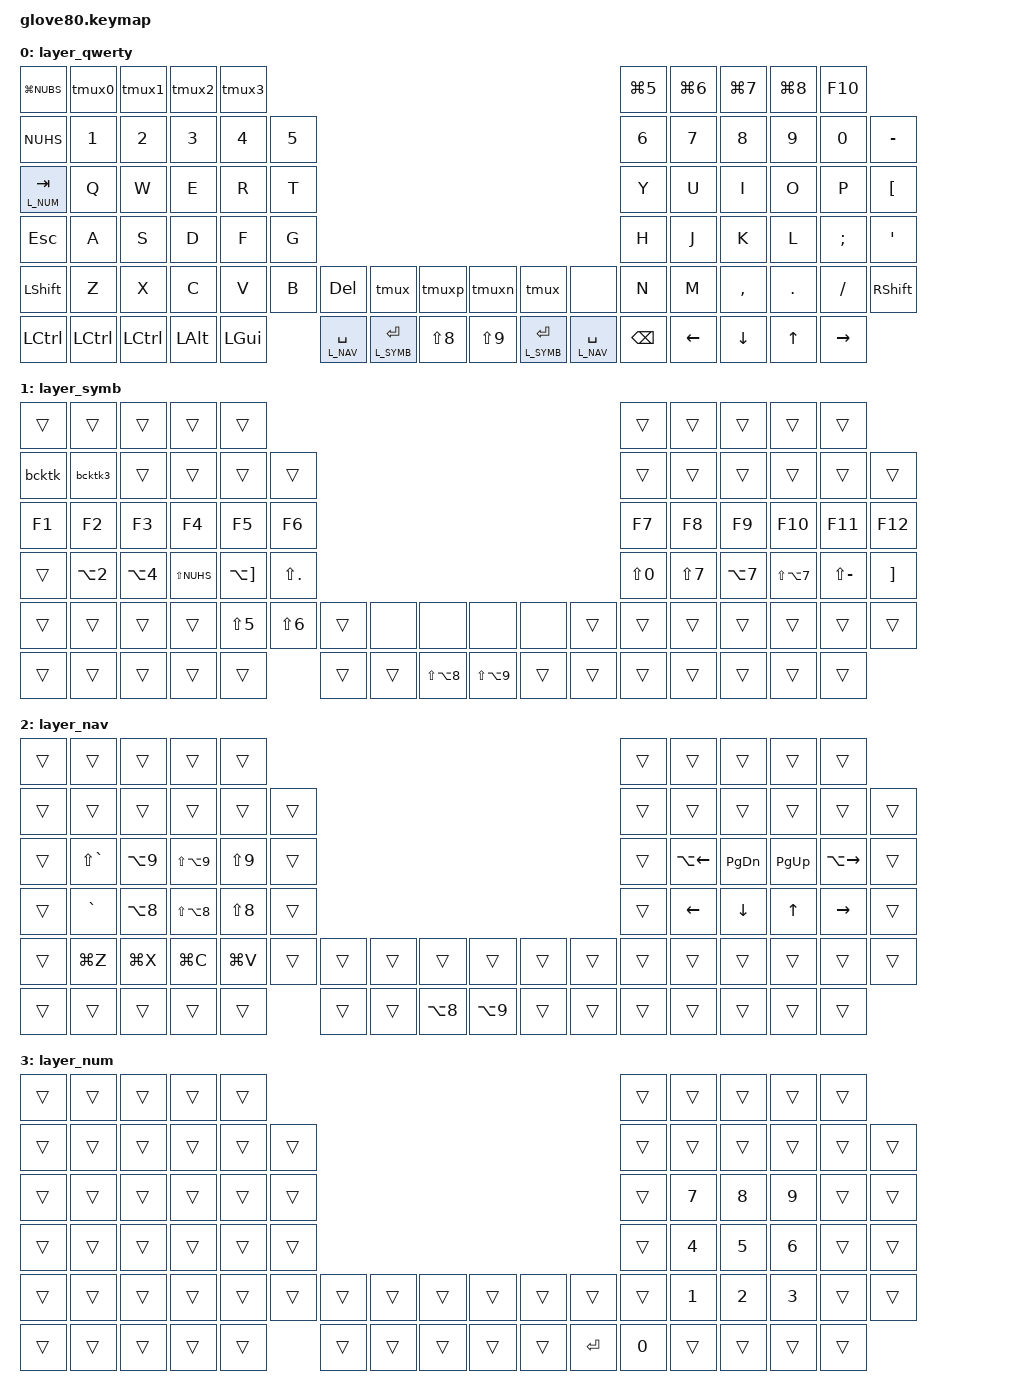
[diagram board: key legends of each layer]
/*
 * Copyright (c) 2020 The ZMK Contributors
 *
 * SPDX-License-Identifier: MIT
 */

#include <behaviors.dtsi>
#include <dt-bindings/zmk/keys.h>
#include <dt-bindings/zmk/bt.h>
#include <dt-bindings/zmk/ext_power.h>
#include <dt-bindings/zmk/outputs.h>
#include <dt-bindings/zmk/rgb.h>

#define HYPER LC(LS(LG(LALT)))

// layers
#define DEFAULT 0
#define LOWER 1
#define MAGIC 2
#define FACTORY_TEST 3

// TODO: No spacies
#define _SNGQU NUHS // '
// #define _DBLQU &mt LS(N2) // "
#define _APOST EQUAL // ´
#define _MULTI LS(NUHS) // *
#define _2DOTS RBKT // ¨
#define _SV_AU LBKT // Å
#define _SV_AE SQT // Ä
#define _SV_OE SEMI // Ö
#define _ANG_L GRAVE // <
#define _ANG_R LS(GRAVE) // >
#define _SQR_L LA(N8) // [
#define _SQR_R LA(N9) // ]
#define _PAR_L LS(N8) // (
#define _PAR_R LS(N9) // )
#define _CRL_L LS(LA(N8)) // {
#define _CRL_R LS(LA(N9)) // }
#define _PLUS  MINUS // +
#define _DASH  SLASH // -
#define _AT    LA(N2) // @
#define _DOLLR LA(N4) // $
#define _FSLSH LS(N7) // /
#define _PIPE  LA(N7) // /
#define _BSLSH LS(LA(N7)) // \
#define _WRD_L LA(LEFT) // <<
#define _WRD_R LA(RIGHT) // >>
#define _TILDE LA(RBKT) // ~
#define _EQUAL LS(N0) // =
#define _QUEST LS(MINUS) // ?
#define _COLON LS(DOT) // :
#define _PARAG NUBS // §
#define _PERCN LS(N5) // %
#define _AMPER LS(N6) // &

#define _QUAKE LG(NUBS)

#define L_QWERTY 0
#define L_SYMB   1
#define L_NAV    2
#define L_NUM    3

/ {
    macros {
        bcktk: backtick {
            label = "BACKTICK";
            compatible = "zmk,behavior-macro";
            #binding-cells = <0>;
            wait-ms = <10>;
            bindings =
                <&macro_press &kp LSHFT>,
                <&macro_tap &kp EQUAL>,
                <&macro_release &kp LSHFT>,
                <&macro_tap &kp SPACE>;
        };

        bcktk3: triple_backtick {
            label = "TRIPLE_BACKTICK";
            compatible = "zmk,behavior-macro";
            #binding-cells = <0>;
            wait-ms = <10>;
            bindings =
                <&macro_press &kp LSHFT>,
                <&macro_tap &kp EQUAL>,
                <&macro_tap &kp EQUAL>,
                <&macro_tap &kp EQUAL>,
                <&macro_release &kp LSHFT>,
                <&macro_tap &kp SPACE>;
        };

        tmux: tumux_command {
            label = "TMUX_COMMAND";
            compatible = "zmk,behavior-macro";
            #binding-cells = <0>;
            wait-ms = <10>;
            bindings =
                <&macro_press &kp LCTRL>,
                <&macro_tap &kp B>,
                <&macro_release &kp LCTRL>;
        };

        tmuxp: tumux_window_prev {
            label = "TMUX_WINDOW_PREV";
            compatible = "zmk,behavior-macro";
            #binding-cells = <0>;
            wait-ms = <10>;
            bindings =
                <&macro_press &kp LCTRL>,
                <&macro_tap &kp B>,
                <&macro_release &kp LCTRL>,
                <&macro_tap &kp P>;
        };

        tmuxn: tumux_window_next {
            label = "TMUX_WINDOW_NEXT";
            compatible = "zmk,behavior-macro";
            #binding-cells = <0>;
            wait-ms = <10>;
            bindings =
                <&macro_press &kp LCTRL>,
                <&macro_tap &kp B>,
                <&macro_release &kp LCTRL>,
                <&macro_tap &kp N>;
        };

        tmux0: tumux_window_0 {
            label = "TMUX_WINDOW_0";
            compatible = "zmk,behavior-macro";
            #binding-cells = <0>;
            wait-ms = <10>;
            bindings =
                <&macro_press &kp LCTRL>,
                <&macro_tap &kp B>,
                <&macro_release &kp LCTRL>,
                <&macro_tap &kp N0>;
        };

        tmux1: tumux_window_1 {
            label = "TMUX_WINDOW_1";
            compatible = "zmk,behavior-macro";
            #binding-cells = <0>;
            wait-ms = <10>;
            bindings =
                <&macro_press &kp LCTRL>,
                <&macro_tap &kp B>,
                <&macro_release &kp LCTRL>,
                <&macro_tap &kp N1>;
        };

        tmux2: tumux_window_2 {
            label = "TMUX_WINDOW_2";
            compatible = "zmk,behavior-macro";
            #binding-cells = <0>;
            wait-ms = <10>;
            bindings =
                <&macro_press &kp LCTRL>,
                <&macro_tap &kp B>,
                <&macro_release &kp LCTRL>,
                <&macro_tap &kp N2>;
        };

        tmux3: tumux_window_3 {
            label = "TMUX_WINDOW_3";
            compatible = "zmk,behavior-macro";
            #binding-cells = <0>;
            wait-ms = <10>;
            bindings =
                <&macro_press &kp LCTRL>,
                <&macro_tap &kp B>,
                <&macro_release &kp LCTRL>,
                <&macro_tap &kp N3>;
        };

        tmux4: tumux_window_4 {
            label = "TMUX_WINDOW_4";
            compatible = "zmk,behavior-macro";
            #binding-cells = <0>;
            wait-ms = <10>;
            bindings =
                <&macro_press &kp LCTRL>,
                <&macro_tap &kp B>,
                <&macro_release &kp LCTRL>,
                <&macro_tap &kp N4>;
        };

        tmux5: tumux_window_5 {
            label = "TMUX_WINDOW_5";
            compatible = "zmk,behavior-macro";
            #binding-cells = <0>;
            wait-ms = <10>;
            bindings =
                <&macro_press &kp LCTRL>,
                <&macro_tap &kp B>,
                <&macro_release &kp LCTRL>,
                <&macro_tap &kp N5>;
        };
    };

    keymap {
        compatible = "zmk,keymap";

    /*
                                                              _QWERTY
                ┌─────┬─────┬─────┐                                                                                                               ┌─────┬─────┬─────┐
    ┌─────┬─────┤Cmd+2│Cmd+3│Cmd+4│                                                                                                               │Cmd+5│Cmd+6│Cmd+7├─────┬─────┐
    │QUAKE│Cmd+1│     │     │     │                                                                                                               │     │     │     │Cmd+8│Cmd+9│
    │     │     ├─────┼─────┼─────┼─────┐                                                                                                   ┌─────┼─────┼─────┼─────┤     │     │
    ├─────┼─────┤  2  │  3  │  4  │  5  │                                                                                                   │  6  │  7  │  8  │  9  ├─────┼─────┤
    │  `  │  1  │     │     │     │     │                                                                                                   │     │     │     │     │  0  │  +  │
    │     │     ├─────┼─────┼─────┼─────┤                                                                                                   ├─────┼─────┼─────┼─────┤     │     │
    ├─────┼─────┤  W  │  E  │  R  │  T  │                                                                                                   │  Y  │  U  │  I  │  O  ├─────┼─────┤
    │ Tab │  Q  │     │     │     │     │                                                                                                   │     │     │     │     │  P  │  Å  │
    │     │     ├─────┼─────┼─────┼─────┤                                                                                                   ├─────┼─────┼─────┼─────┤     │     │
    ├─────┼─────┤  S  │  D  │  F  │  G  │                                                                                                   │  H  │  J  │  K  │  L  ├─────┼─────┤
    │ ESC │  A  │     │     │     │     │                                                                                                   │     │     │     │     │  Ö  │  Ä  │
    │     │     ├─────┼─────┼─────┼─────┤                                                                                                   ├─────┼─────┼─────┼─────┤     │     │
    ├─────┼─────┤  X  │  C  │  V  │  B  │             ┌─────┐                                                           ┌─────┐             │  N  │  M  │  ,  │  .  ├─────┼─────┤
    │LShft│  Z  │     │     │     │     │             │ Del │┌─────┐                                             ┌─────┐│     │             │     │     │     │     │  -  │RShft│
    │     │     ├─────┼─────┼─────┼─────┘             │     ││     │┌─────┐                               ┌─────┐│     ││     │             └─────┼─────┼─────┼─────┤     │     │
    ├─────┼─────┤LCtrl│LOptn│LCmnd│                   └─────┘│     ││     │                               │     ││     │└─────┘                   │Bkspc│Left │Down ├─────┼─────┤
    │LCtrl│LCtrl│     │     │     │                ┌─────┐   └─────┘│     │                               │     │└─────┘   ┌─────┐                │     │     │     │Up   │Right│
    │     │     ├─────┴─────┴─────┘                │Space│┌─────┐   └─────┘                               └─────┘   ┌─────┐│Space│                └─────┴─────┴─────┤     │     │
    └─────┴─────┘                                  │_NAV ││Enter│┌─────┐                                     ┌─────┐│Enter││_NAV │                                  └─────┴─────┘
                                                   └─────┘│_SYMB││  (  │                                     │  )  ││_SYMB│└─────┘
                                                          └─────┘│     │                                     │     │└─────┘
                                                                 └─────┘                                     └─────┘
    */


        layer_qwerty {
            bindings = <
 &kp _QUAKE       &tmux0     &tmux1     &tmux2     &tmux3                                                                                                          &kp LG(N5) &kp LG(N6) &kp LG(N7) &kp LG(N8) &kp F10
 &kp _SNGQU       &kp N1     &kp N2     &kp N3     &kp N4     &kp N5                                                                                               &kp N6     &kp N7     &kp N8     &kp N9     &kp N0     &kp _PLUS
 &lt L_NUM TAB    &kp Q      &kp W      &kp E      &kp R      &kp T                                                                                                &kp Y      &kp U      &kp I      &kp O      &kp P      &kp _SV_AU
 &kp ESC          &kp A      &kp S      &kp D      &kp F      &kp G                                                                                                &kp H      &kp J      &kp K      &kp L      &kp _SV_OE &kp _SV_AE
 &kp LSHIFT       &kp Z      &kp X      &kp C      &kp V      &kp B  &kp DEL         &tmux            &tmuxp           &tmuxn     &tmux            &none           &kp N      &kp M      &kp COMMA  &kp DOT    &kp _DASH  &kp RSHIFT
 &kp LCTRL        &kp LCTRL  &kp LCTRL  &kp LALT   &kp LGUI          &lt L_NAV SPACE &lt L_SYMB ENTER &kp _PAR_L       &kp _PAR_R &lt L_SYMB ENTER &lt L_NAV SPACE &kp BSPC   &kp LEFT   &kp DOWN   &kp UP     &kp RIGHT
            >;
        };

    /*
                                                              _SYMB
                ┌─────┬─────┬─────┐                                                                                                               ┌─────┬─────┬─────┐
    ┌─────┬─────┤     │     │     │                                                                                                               │     │     │     ├─────┬─────┐
    │     │     │     │     │     │                                                                                                               │     │     │     │     │     │
    │     │     ├─────┼─────┼─────┼─────┐                                                                                                   ┌─────┼─────┼─────┼─────┤     │     │
    ├─────┼─────┤     │     │     │     │                                                                                                   │     │     │     │     ├─────┼─────┤
    │ `   │ ``` │     │     │     │     │                                                                                                   │     │     │     │     │     │   ´ │
    │     │     ├─────┼─────┼─────┼─────┤                                                                                                   ├─────┼─────┼─────┼─────┤     │     │
    ├─────┼─────┤ F3  │ F4  │ F5  │ F6  │                                                                                                   │ F7  │ F8  │ F9  │ F10 ├─────┼─────┤
    │ F1  │ F2  │     │     │     │     │                                                                                                   │     │     │     │     │ F11 │ F12 │
    │     │     ├─────┼─────┼─────┼─────┤                                                                                                   ├─────┼─────┼─────┼─────┤     │     │
    ├─────┼─────┤  $  │  *  │  ~  │  :  │                                                                                                   │  =  │  /  │  |  │  \  ├─────┼─────┤
    │     │  @  │     │     │     │     │                                                                                                   │     │     │     │     │  ?  │  ¨  │
    │     │     ├─────┼─────┼─────┼─────┤                                                                                                   ├─────┼─────┼─────┼─────┤     │     │
    ├─────┼─────┤     │     │  %  │  &  │             ┌─────┐                                                           ┌─────┐             │     │     │     │     ├─────┼─────┤
    │     │     │     │     │     │     │             │     │┌─────┐                                             ┌─────┐│     │             │     │     │     │     │     │     │
    │     │     ├─────┼─────┼─────┼─────┘             │     ││     │┌─────┐                               ┌─────┐│     ││     │             └─────┼─────┼─────┼─────┤     │     │
    ├─────┼─────┤     │     │     │                   └─────┘│     ││     │                               │     ││     │└─────┘                   │     │     │     ├─────┼─────┤
    │     │     │     │     │     │                ┌─────┐   └─────┘│     │                               │     │└─────┘   ┌─────┐                │     │     │     │     │     │
    │     │     ├─────┴─────┴─────┘                │     │┌─────┐   └─────┘                               └─────┘   ┌─────┐│     │                └─────┴─────┴─────┤     │     │
    └─────┴─────┘                                  │     ││     │┌─────┐                                     ┌─────┐│     ││     │                                  └─────┴─────┘
                                                   └─────┘│     ││  {  │                                     │  }  ││     │└─────┘
                                                          └─────┘│     │                                     │     │└─────┘
                                                                 └─────┘                                     └─────┘
    */


        layer_symb {
            bindings = <
 &trans  &trans  &trans     &trans     &trans                                                                               &trans     &trans     &trans    &trans     &trans
 &bcktk  &bcktk3 &trans     &trans     &trans     &trans                                                                    &trans     &trans     &trans    &trans     &trans     &trans
 &kp F1  &kp F2  &kp F3     &kp F4     &kp F5     &kp F6                                                                    &kp F7     &kp F8     &kp F9    &kp F10    &kp F11    &kp F12
 &trans  &kp _AT &kp _DOLLR &kp _MULTI &kp _TILDE &kp _COLON                                                                &kp _EQUAL &kp _FSLSH &kp _PIPE &kp _BSLSH &kp _QUEST &kp _2DOTS
 &trans  &trans  &trans     &trans     &kp _PERCN &kp _AMPER &trans  &none      &none       &none       &none       &trans  &trans     &trans     &trans    &trans     &trans     &trans
 &trans  &trans  &trans     &trans     &trans                &trans  &trans     &kp _CRL_L  &kp _CRL_R  &trans      &trans             &trans     &trans    &trans     &trans     &trans
            >;
        };

    /*
                                                              _NAV
                ┌─────┬─────┬─────┐                                                                                                               ┌─────┬─────┬─────┐
    ┌─────┬─────┤     │     │     │                                                                                                               │     │     │     ├─────┬─────┐
    │     │     │     │     │     │                                                                                                               │     │     │     │     │     │
    │     │     ├─────┼─────┼─────┼─────┐                                                                                                   ┌─────┼─────┼─────┼─────┤     │     │
    ├─────┼─────┤     │     │     │     │                                                                                                   │     │     │     │     ├─────┼─────┤
    │     │     │     │     │     │     │                                                                                                   │     │     │     │     │     │     │
    │     │     ├─────┼─────┼─────┼─────┤                                                                                                   ├─────┼─────┼─────┼─────┤     │     │
    ├─────┼─────┤  ]  │  }  │  )  │     │                                                                                                   │     │ <<  │PgDwn│PgUp ├─────┼─────┤
    │     │  >  │     │     │     │     │                                                                                                   │     │     │     │     │ >>  │     │
    │     │     ├─────┼─────┼─────┼─────┤                                                                                                   ├─────┼─────┼─────┼─────┤     │     │
    ├─────┼─────┤  [  │  {  │  (  │     │                                                                                                   │     │Left │Down │ Up  ├─────┼─────┤
    │     │  <  │     │     │     │     │                                                                                                   │     │     │     │     │Right│     │
    │     │     ├─────┼─────┼─────┼─────┤                                                                                                   ├─────┼─────┼─────┼─────┤     │     │
    ├─────┼─────┤Cmd+X│Cmd+C│Cmd+V│     │             ┌─────┐                                                           ┌─────┐             │     │     │     │     ├─────┼─────┤
    │     │Cmd+Z│     │     │     │     │             │     │┌─────┐                                             ┌─────┐│     │             │     │     │     │     │     │     │
    │     │     ├─────┼─────┼─────┼─────┘             │     ││     │┌─────┐                               ┌─────┐│     ││     │             └─────┼─────┼─────┼─────┤     │     │
    ├─────┼─────┤     │     │     │                   └─────┘│     ││     │                               │     ││     │└─────┘                   │     │     │     ├─────┼─────┤
    │     │     │     │     │     │                ┌─────┐   └─────┘│     │                               │     │└─────┘   ┌─────┐                │     │     │     │     │     │
    │     │     ├─────┴─────┴─────┘                │     │┌─────┐   └─────┘                               └─────┘   ┌─────┐│     │                └─────┴─────┴─────┤     │     │
    └─────┴─────┘                                  │     ││     │┌─────┐                                     ┌─────┐│     ││     │                                  └─────┴─────┘
                                                   └─────┘│     ││  [  │                                     │  ]  ││     │└─────┘
                                                          └─────┘│     │                                     │     │└─────┘
                                                                 └─────┘                                     └─────┘
    */


        layer_nav {
            bindings = <
 &trans  &trans     &trans     &trans     &trans                                                                    &trans       &trans    &trans    &trans        &trans
 &trans  &trans     &trans     &trans     &trans     &trans                                                  &trans &trans       &trans    &trans    &trans        &trans
 &trans  &kp _ANG_R &kp _SQR_R &kp _CRL_R &kp _PAR_R &trans                                                  &trans &kp LA(LEFT) &kp PG_DN &kp PG_UP &kp LA(RIGHT) &trans
 &trans  &kp _ANG_L &kp _SQR_L &kp _CRL_L &kp _PAR_L &trans                                                  &trans &kp LEFT     &kp DOWN  &kp UP    &kp RIGHT     &trans
 &trans  &kp LG(Z)  &kp LG(X)  &kp LG(C)  &kp LG(V)  &trans &trans  &trans  &trans      &trans      &trans  &trans  &trans       &trans    &trans    &trans        &trans &trans
 &trans  &trans     &trans     &trans     &trans            &trans  &trans  &kp _SQR_L  &kp _SQR_R  &trans  &trans               &trans    &trans    &trans        &trans &trans
            >;
        };
    /*
                                                              _NUM
                ┌─────┬─────┬─────┐                                                                                                               ┌─────┬─────┬─────┐
    ┌─────┬─────┤     │     │     │                                                                                                               │     │     │     ├─────┬─────┐
    │     │     │     │     │     │                                                                                                               │     │     │     │     │     │
    │     │     ├─────┼─────┼─────┼─────┐                                                                                                   ┌─────┼─────┼─────┼─────┤     │     │
    ├─────┼─────┤     │     │     │     │                                                                                                   │     │     │     │     ├─────┼─────┤
    │     │     │     │     │     │     │                                                                                                   │     │     │     │     │     │     │
    │     │     ├─────┼─────┼─────┼─────┤                                                                                                   ├─────┼─────┼─────┼─────┤     │     │
    ├─────┼─────┤     │     │     │     │                                                                                                   │     │  7  │  8  │  9  ├─────┼─────┤
    │     │     │     │     │     │     │                                                                                                   │     │     │     │     │     │     │
    │     │     ├─────┼─────┼─────┼─────┤                                                                                                   ├─────┼─────┼─────┼─────┤     │     │
    ├─────┼─────┤     │     │     │     │                                                                                                   │     │  4  │  5  │  6  ├─────┼─────┤
    │     │     │     │     │     │     │                                                                                                   │     │     │     │     │     │     │
    │     │     ├─────┼─────┼─────┼─────┤                                                                                                   ├─────┼─────┼─────┼─────┤     │     │
    ├─────┼─────┤     │     │     │     │             ┌─────┐                                                           ┌─────┐             │     │  1  │  2  │  3  ├─────┼─────┤
    │     │     │     │     │     │     │             │     │┌─────┐                                             ┌─────┐│     │             │     │     │     │     │     │     │
    │     │     ├─────┼─────┼─────┼─────┘             │     ││     │┌─────┐                               ┌─────┐│     ││     │             └─────┼─────┼─────┼─────┤     │     │
    ├─────┼─────┤     │     │     │                   └─────┘│     ││     │                               │     ││     │└─────┘                   │  0  │     │     ├─────┼─────┤
    │     │     │     │     │     │                ┌─────┐   └─────┘│     │                               │     │└─────┘   ┌─────┐                │     │     │     │     │     │
    │     │     ├─────┴─────┴─────┘                │     │┌─────┐   └─────┘                               └─────┘   ┌─────┐│ENTER│                └─────┴─────┴─────┤     │     │
    └─────┴─────┘                                  │     ││     │┌─────┐                                     ┌─────┐│     ││     │                                  └─────┴─────┘
                                                   └─────┘│     ││     │                                     │     ││     │└─────┘
                                                          └─────┘│     │                                     │     │└─────┘
                                                                 └─────┘                                     └─────┘
    */


        layer_num {
            bindings = <
 &trans      &trans &trans &trans &trans                                                                    &trans &trans &trans &trans &trans
 &trans      &trans &trans &trans &trans &trans                                                     &trans  &trans &trans &trans &trans &trans
 &trans      &trans &trans &trans &trans &trans                                                     &trans  &kp N7 &kp N8 &kp N9 &trans &trans
 &trans      &trans &trans &trans &trans &trans                                                     &trans  &kp N4 &kp N5 &kp N6 &trans &trans
 &trans      &trans &trans &trans &trans &trans  &trans  &trans  &trans  &trans  &trans  &trans     &trans  &kp N1 &kp N2 &kp N3 &trans &trans
 &trans      &trans &trans &trans &trans         &trans  &trans  &trans  &trans  &trans  &kp ENTER          &kp N0 &trans &trans &trans &trans
            >;
        };
    };
};
